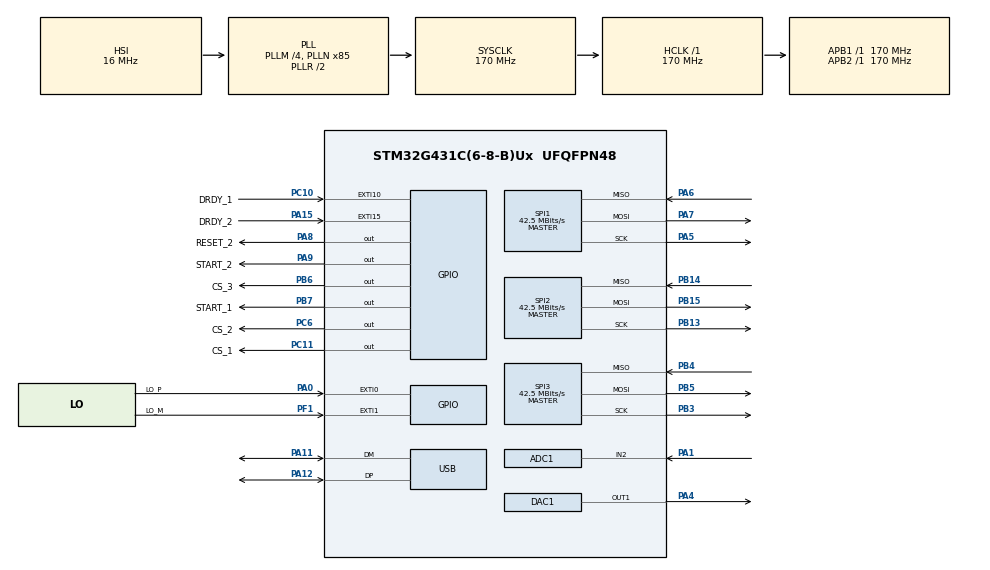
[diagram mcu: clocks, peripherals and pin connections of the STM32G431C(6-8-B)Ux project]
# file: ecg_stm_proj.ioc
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ADC1.Channel-0\#ChannelRegularConversion=ADC_CHANNEL_2
ADC1.DMAContinuousRequests=ENABLE
ADC1.ExternalTrigConv=ADC_EXTERNALTRIG_T7_TRGO
ADC1.NbrOfConversionFlag=1
ADC1.OffsetNumber-0\#ChannelRegularConversion=ADC_OFFSET_NONE
ADC1.Overrun=ADC_OVR_DATA_OVERWRITTEN
ADC1.Rank-0\#ChannelRegularConversion=1
ADC1.SamplingTime-0\#ChannelRegularConversion=ADC_SAMPLETIME_2CYCLES_5
ADC1.master=1
CRC.CRCLength=CRC_POLYLENGTH_8B
CRC.DefaultInitValueUse=DEFAULT_INIT_VALUE_DISABLE
CRC.DefaultPolynomialUse=DEFAULT_POLYNOMIAL_DISABLE
DAC1.DAC_Trigger_OUT1-DAC_OUT1=DAC_TRIGGER_T6_TRGO
Dma.ADC1.2.Direction=DMA_PERIPH_TO_MEMORY
Dma.ADC1.2.EventEnable=DISABLE
Dma.ADC1.2.Instance=DMA1_Channel4
Dma.ADC1.2.MemDataAlignment=DMA_MDATAALIGN_HALFWORD
Dma.ADC1.2.MemInc=DMA_MINC_ENABLE
Dma.ADC1.2.Mode=DMA_CIRCULAR
Dma.ADC1.2.PeriphDataAlignment=DMA_PDATAALIGN_WORD
Dma.ADC1.2.PeriphInc=DMA_PINC_DISABLE
Dma.ADC1.2.Polarity=HAL_DMAMUX_REQ_GEN_RISING
Dma.ADC1.2.Priority=DMA_PRIORITY_HIGH
Dma.ADC1.2.RequestNumber=1
Dma.ADC1.2.SignalID=NONE
Dma.ADC1.2.SyncEnable=DISABLE
Dma.ADC1.2.SyncPolarity=HAL_DMAMUX_SYNC_NO_EVENT
Dma.ADC1.2.SyncRequestNumber=1
Dma.ADC1.2.SyncSignalID=NONE
Dma.DAC1_CH1.0.Direction=DMA_MEMORY_TO_PERIPH
Dma.DAC1_CH1.0.EventEnable=DISABLE
Dma.DAC1_CH1.0.Instance=DMA1_Channel1
Dma.DAC1_CH1.0.MemDataAlignment=DMA_MDATAALIGN_HALFWORD
Dma.DAC1_CH1.0.MemInc=DMA_MINC_ENABLE
Dma.DAC1_CH1.0.Mode=DMA_CIRCULAR
Dma.DAC1_CH1.0.PeriphDataAlignment=DMA_PDATAALIGN_WORD
Dma.DAC1_CH1.0.PeriphInc=DMA_PINC_DISABLE
Dma.DAC1_CH1.0.Polarity=HAL_DMAMUX_REQ_GEN_RISING
Dma.DAC1_CH1.0.Priority=DMA_PRIORITY_HIGH
Dma.DAC1_CH1.0.RequestNumber=1
Dma.DAC1_CH1.0.SignalID=NONE
Dma.DAC1_CH1.0.SyncEnable=DISABLE
Dma.DAC1_CH1.0.SyncPolarity=HAL_DMAMUX_SYNC_NO_EVENT
Dma.DAC1_CH1.0.SyncRequestNumber=1
Dma.DAC1_CH1.0.SyncSignalID=NONE
Dma.Request0=DAC1_CH1
Dma.Request1=SPI1_RX
Dma.Request2=ADC1
Dma.Request3=SPI1_TX
Dma.Request4=SPI2_RX
Dma.Request5=SPI2_TX
Dma.Request6=SPI3_RX
Dma.Request7=SPI3_TX
Dma.SPI1_RX.1.Direction=DMA_PERIPH_TO_MEMORY
Dma.SPI1_RX.1.EventEnable=DISABLE
Dma.SPI1_RX.1.Instance=DMA1_Channel2
Dma.SPI1_RX.1.MemDataAlignment=DMA_MDATAALIGN_BYTE
Dma.SPI1_RX.1.MemInc=DMA_MINC_ENABLE
Dma.SPI1_RX.1.Mode=DMA_NORMAL
Dma.SPI1_RX.1.PeriphDataAlignment=DMA_PDATAALIGN_BYTE
Dma.SPI1_RX.1.PeriphInc=DMA_PINC_DISABLE
Dma.SPI1_RX.1.Polarity=HAL_DMAMUX_REQ_GEN_RISING
Dma.SPI1_RX.1.Priority=DMA_PRIORITY_VERY_HIGH
Dma.SPI1_RX.1.RequestNumber=1
Dma.SPI1_RX.1.SignalID=NONE
Dma.SPI1_RX.1.SyncEnable=DISABLE
Dma.SPI1_RX.1.SyncPolarity=HAL_DMAMUX_SYNC_NO_EVENT
Dma.SPI1_RX.1.SyncRequestNumber=1
Dma.SPI1_RX.1.SyncSignalID=NONE
Dma.SPI1_TX.3.Direction=DMA_MEMORY_TO_PERIPH
Dma.SPI1_TX.3.EventEnable=DISABLE
Dma.SPI1_TX.3.Instance=DMA1_Channel3
Dma.SPI1_TX.3.MemDataAlignment=DMA_MDATAALIGN_BYTE
Dma.SPI1_TX.3.MemInc=DMA_MINC_ENABLE
Dma.SPI1_TX.3.Mode=DMA_NORMAL
Dma.SPI1_TX.3.PeriphDataAlignment=DMA_PDATAALIGN_BYTE
Dma.SPI1_TX.3.PeriphInc=DMA_PINC_DISABLE
Dma.SPI1_TX.3.Polarity=HAL_DMAMUX_REQ_GEN_RISING
Dma.SPI1_TX.3.Priority=DMA_PRIORITY_VERY_HIGH
Dma.SPI1_TX.3.RequestNumber=1
Dma.SPI1_TX.3.SignalID=NONE
Dma.SPI1_TX.3.SyncEnable=DISABLE
Dma.SPI1_TX.3.SyncPolarity=HAL_DMAMUX_SYNC_NO_EVENT
Dma.SPI1_TX.3.SyncRequestNumber=1
Dma.SPI1_TX.3.SyncSignalID=NONE
Dma.SPI2_RX.4.Direction=DMA_PERIPH_TO_MEMORY
Dma.SPI2_RX.4.EventEnable=DISABLE
Dma.SPI2_RX.4.Instance=DMA2_Channel1
Dma.SPI2_RX.4.MemDataAlignment=DMA_MDATAALIGN_BYTE
Dma.SPI2_RX.4.MemInc=DMA_MINC_ENABLE
Dma.SPI2_RX.4.Mode=DMA_NORMAL
Dma.SPI2_RX.4.PeriphDataAlignment=DMA_PDATAALIGN_BYTE
Dma.SPI2_RX.4.PeriphInc=DMA_PINC_DISABLE
Dma.SPI2_RX.4.Polarity=HAL_DMAMUX_REQ_GEN_RISING
Dma.SPI2_RX.4.Priority=DMA_PRIORITY_VERY_HIGH
Dma.SPI2_RX.4.RequestNumber=1
Dma.SPI2_RX.4.SignalID=NONE
Dma.SPI2_RX.4.SyncEnable=DISABLE
Dma.SPI2_RX.4.SyncPolarity=HAL_DMAMUX_SYNC_NO_EVENT
Dma.SPI2_RX.4.SyncRequestNumber=1
Dma.SPI2_RX.4.SyncSignalID=NONE
Dma.SPI2_TX.5.Direction=DMA_MEMORY_TO_PERIPH
Dma.SPI2_TX.5.EventEnable=DISABLE
Dma.SPI2_TX.5.Instance=DMA2_Channel2
Dma.SPI2_TX.5.MemDataAlignment=DMA_MDATAALIGN_BYTE
Dma.SPI2_TX.5.MemInc=DMA_MINC_ENABLE
Dma.SPI2_TX.5.Mode=DMA_NORMAL
Dma.SPI2_TX.5.PeriphDataAlignment=DMA_PDATAALIGN_BYTE
Dma.SPI2_TX.5.PeriphInc=DMA_PINC_DISABLE
Dma.SPI2_TX.5.Polarity=HAL_DMAMUX_REQ_GEN_RISING
Dma.SPI2_TX.5.Priority=DMA_PRIORITY_VERY_HIGH
Dma.SPI2_TX.5.RequestNumber=1
Dma.SPI2_TX.5.SignalID=NONE
Dma.SPI2_TX.5.SyncEnable=DISABLE
Dma.SPI2_TX.5.SyncPolarity=HAL_DMAMUX_SYNC_NO_EVENT
Dma.SPI2_TX.5.SyncRequestNumber=1
Dma.SPI2_TX.5.SyncSignalID=NONE
Dma.SPI3_RX.6.Direction=DMA_PERIPH_TO_MEMORY
Dma.SPI3_RX.6.EventEnable=DISABLE
Dma.SPI3_RX.6.Instance=DMA2_Channel3
Dma.SPI3_RX.6.MemDataAlignment=DMA_MDATAALIGN_BYTE
Dma.SPI3_RX.6.MemInc=DMA_MINC_ENABLE
Dma.SPI3_RX.6.Mode=DMA_NORMAL
Dma.SPI3_RX.6.PeriphDataAlignment=DMA_PDATAALIGN_BYTE
Dma.SPI3_RX.6.PeriphInc=DMA_PINC_DISABLE
Dma.SPI3_RX.6.Polarity=HAL_DMAMUX_REQ_GEN_RISING
Dma.SPI3_RX.6.Priority=DMA_PRIORITY_MEDIUM
Dma.SPI3_RX.6.RequestNumber=1
Dma.SPI3_RX.6.SignalID=NONE
Dma.SPI3_RX.6.SyncEnable=DISABLE
Dma.SPI3_RX.6.SyncPolarity=HAL_DMAMUX_SYNC_NO_EVENT
Dma.SPI3_RX.6.SyncRequestNumber=1
Dma.SPI3_RX.6.SyncSignalID=NONE
Dma.SPI3_TX.7.Direction=DMA_MEMORY_TO_PERIPH
Dma.SPI3_TX.7.EventEnable=DISABLE
Dma.SPI3_TX.7.Instance=DMA2_Channel4
Dma.SPI3_TX.7.MemDataAlignment=DMA_MDATAALIGN_BYTE
Dma.SPI3_TX.7.MemInc=DMA_MINC_ENABLE
Dma.SPI3_TX.7.Mode=DMA_NORMAL
Dma.SPI3_TX.7.PeriphDataAlignment=DMA_PDATAALIGN_BYTE
Dma.SPI3_TX.7.PeriphInc=DMA_PINC_DISABLE
Dma.SPI3_TX.7.Polarity=HAL_DMAMUX_REQ_GEN_RISING
Dma.SPI3_TX.7.Priority=DMA_PRIORITY_MEDIUM
Dma.SPI3_TX.7.RequestNumber=1
Dma.SPI3_TX.7.SignalID=NONE
Dma.SPI3_TX.7.SyncEnable=DISABLE
Dma.SPI3_TX.7.SyncPolarity=HAL_DMAMUX_SYNC_NO_EVENT
Dma.SPI3_TX.7.SyncRequestNumber=1
Dma.SPI3_TX.7.SyncSignalID=NONE
Mcu.Family=STM32G4
Mcu.Name=STM32G431C(6-8-B)Ux
Mcu.Package=UFQFPN48
NVIC.DMA1_Channel1_IRQn=true\:4\:0\:true\:false\:true\:false\:true\:true
NVIC.DMA1_Channel2_IRQn=true\:0\:0\:true\:false\:true\:false\:false\:true
NVIC.DMA1_Channel3_IRQn=true\:4\:0\:true\:false\:false\:false\:false\:false
NVIC.DMA1_Channel4_IRQn=true\:4\:0\:true\:false\:true\:false\:true\:true
NVIC.DMA2_Channel1_IRQn=true\:1\:0\:true\:false\:true\:false\:false\:true
NVIC.DMA2_Channel2_IRQn=true\:4\:0\:true\:false\:false\:false\:false\:false
NVIC.DMA2_Channel3_IRQn=true\:0\:0\:false\:false\:true\:false\:true\:true
NVIC.DMA2_Channel4_IRQn=true\:0\:0\:false\:false\:true\:false\:true\:true
NVIC.EXTI0_IRQn=true\:10\:0\:true\:false\:true\:true\:false\:true
NVIC.EXTI15_10_IRQn=true\:1\:0\:true\:false\:true\:true\:false\:true
NVIC.EXTI1_IRQn=true\:10\:0\:true\:false\:true\:true\:false\:true
NVIC.PriorityGroup=NVIC_PRIORITYGROUP_4
NVIC.USB_HP_IRQn=true\:0\:0\:false\:false\:true\:true\:false\:true
NVIC.USB_LP_IRQn=true\:2\:0\:true\:false\:true\:true\:true\:true
PA0.GPIO_Label=LO_P
PA0.GPIO_ModeDefaultEXTI=GPIO_MODE_IT_RISING_FALLING
PA0.GPIO_PuPd=GPIO_PULLDOWN
PA0.Signal=GPXTI0
PA1.Mode=IN2-Single-Ended
PA1.Signal=ADC1_IN2
PA11.Mode=Device
PA11.Signal=USB_DM
PA12.Mode=Device
PA12.Signal=USB_DP
PA15.GPIO_Label=DRDY_2
PA15.GPIO_ModeDefaultEXTI=GPIO_MODE_IT_FALLING
PA15.GPIO_PuPd=GPIO_PULLDOWN
PA15.Signal=GPXTI15
PA4.Signal=COMP_DAC11_group
PA5.GPIO_PuPd=GPIO_NOPULL
PA5.GPIO_Speed=GPIO_SPEED_FREQ_VERY_HIGH
PA5.Mode=Full_Duplex_Master
PA5.Signal=SPI1_SCK
PA6.GPIO_PuPd=GPIO_NOPULL
PA6.GPIO_Speed=GPIO_SPEED_FREQ_VERY_HIGH
PA6.Mode=Full_Duplex_Master
PA6.Signal=SPI1_MISO
PA7.GPIO_PuPd=GPIO_NOPULL
PA7.GPIO_Speed=GPIO_SPEED_FREQ_VERY_HIGH
PA7.Mode=Full_Duplex_Master
PA7.Signal=SPI1_MOSI
PA8.GPIO_Label=RESET_2
PA8.GPIO_PuPd=GPIO_PULLDOWN
PA8.Signal=GPIO_Output
PA9.GPIO_Label=START_2
PA9.GPIO_PuPd=GPIO_PULLDOWN
PA9.Signal=GPIO_Output
PB13.GPIO_PuPd=GPIO_NOPULL
PB13.GPIO_Speed=GPIO_SPEED_FREQ_VERY_HIGH
PB13.Mode=Full_Duplex_Master
PB13.Signal=SPI2_SCK
PB14.GPIO_PuPd=GPIO_NOPULL
PB14.GPIO_Speed=GPIO_SPEED_FREQ_VERY_HIGH
PB14.Mode=Full_Duplex_Master
PB14.Signal=SPI2_MISO
PB15.GPIO_PuPd=GPIO_NOPULL
PB15.GPIO_Speed=GPIO_SPEED_FREQ_VERY_HIGH
PB15.Mode=Full_Duplex_Master
PB15.Signal=SPI2_MOSI
PB3.Mode=Full_Duplex_Master
PB3.Signal=SPI3_SCK
PB4.Mode=Full_Duplex_Master
PB4.Signal=SPI3_MISO
PB5.Mode=Full_Duplex_Master
PB5.Signal=SPI3_MOSI
PB6.GPIO_Label=CS_3
PB6.GPIO_PuPd=GPIO_PULLDOWN
PB6.GPIO_Speed=GPIO_SPEED_FREQ_VERY_HIGH
PB6.Signal=GPIO_Output
PB7.GPIO_Label=START_1
PB7.GPIO_PuPd=GPIO_PULLDOWN
PB7.Signal=GPIO_Output
PC10.GPIO_Label=DRDY_1
PC10.GPIO_ModeDefaultEXTI=GPIO_MODE_IT_FALLING
PC10.GPIO_PuPd=GPIO_PULLDOWN
PC10.Signal=GPXTI10
PC11.GPIO_Label=CS_1
PC11.GPIO_PuPd=GPIO_NOPULL
PC11.GPIO_Speed=GPIO_SPEED_FREQ_HIGH
PC11.PinState=GPIO_PIN_SET
PC11.Signal=GPIO_Output
PC6.GPIO_Label=CS_2
PC6.GPIO_PuPd=GPIO_NOPULL
PC6.GPIO_Speed=GPIO_SPEED_FREQ_HIGH
PC6.PinState=GPIO_PIN_SET
PC6.Signal=GPIO_Output
PF1-OSC_OUT.GPIO_Label=LO_M
PF1-OSC_OUT.GPIO_ModeDefaultEXTI=GPIO_MODE_IT_RISING_FALLING
PF1-OSC_OUT.GPIO_PuPd=GPIO_PULLDOWN
PF1-OSC_OUT.Signal=GPXTI1
ProjectManager.HeapSize=0x200
ProjectManager.StackSize=0x400
ProjectManager.TargetToolchain=CMake
RCC.ADC12Freq_Value=170000000
RCC.AHBFreq_Value=170000000
RCC.APB1Freq_Value=170000000
RCC.APB1TimFreq_Value=170000000
RCC.APB2Freq_Value=170000000
RCC.APB2TimFreq_Value=170000000
RCC.CK48CLockSelection=RCC_USBCLKSOURCE_HSI48
RCC.CortexFreq_Value=170000000
RCC.EXTERNAL_CLOCK_VALUE=12288000
RCC.HCLKFreq_Value=170000000
RCC.HSE_VALUE=8000000
RCC.HSI48_VALUE=48000000
RCC.HSI_VALUE=16000000
RCC.LSE_VALUE=32768
RCC.PLLM=RCC_PLLM_DIV4
RCC.PLLN=85
RCC.PREFETCH_ENABLE=1
RCC.SYSCLKFreq_VALUE=170000000
RCC.SYSCLKSource=RCC_SYSCLKSOURCE_PLLCLK
RCC.USBFreq_Value=48000000
RCC.VCOOutputFreq_Value=340000000
SH.COMP_DAC11_group.0=DAC1_OUT1,DAC_OUT1
SPI1.BaudRatePrescaler=SPI_BAUDRATEPRESCALER_4
SPI1.CLKPhase=SPI_PHASE_2EDGE
SPI1.CLKPolarity=SPI_POLARITY_LOW
SPI1.CalculateBaudRate=42.5 MBits/s
SPI1.DataSize=SPI_DATASIZE_8BIT
SPI1.Direction=SPI_DIRECTION_2LINES
SPI1.Mode=SPI_MODE_MASTER
SPI1.VirtualType=VM_MASTER
SPI2.BaudRatePrescaler=SPI_BAUDRATEPRESCALER_4
SPI2.CLKPhase=SPI_PHASE_2EDGE
SPI2.CalculateBaudRate=42.5 MBits/s
SPI2.DataSize=SPI_DATASIZE_8BIT
SPI2.Direction=SPI_DIRECTION_2LINES
SPI2.Mode=SPI_MODE_MASTER
SPI2.VirtualType=VM_MASTER
SPI3.BaudRatePrescaler=SPI_BAUDRATEPRESCALER_4
SPI3.CLKPhase=SPI_PHASE_1EDGE
SPI3.CalculateBaudRate=42.5 MBits/s
SPI3.DataSize=SPI_DATASIZE_8BIT
SPI3.Direction=SPI_DIRECTION_2LINES
SPI3.Mode=SPI_MODE_MASTER
SPI3.VirtualType=VM_MASTER
TIM6.PeriodNoDither=1
TIM6.Prescaler=0
TIM6.TIM_MasterOutputTrigger=TIM_TRGO_UPDATE
TIM7.PeriodNoDither=999
TIM7.Prescaler=100
TIM7.TIM_MasterOutputTrigger=TIM_TRGO_UPDATE
USB_DEVICE.CLASS_NAME_FS=CDC
USB_DEVICE.VirtualMode=Cdc
USB_DEVICE.VirtualModeFS=Cdc_FS
VP_CRC_VS_CRC.Mode=CRC_Activate
VP_SYS_VS_DBSignals.Mode=DisableDeadBatterySignals
VP_TIM6_VS_ClockSourceINT.Mode=Enable_Timer
VP_TIM7_VS_ClockSourceINT.Mode=Enable_Timer
VP_USB_DEVICE_VS_USB_DEVICE_CDC_FS.Mode=CDC_FS
board=custom

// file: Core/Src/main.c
/* USER CODE BEGIN Header */
/**
 ******************************************************************************
 * @file           : main.c
 * @brief          : Main program body
 ******************************************************************************
 * @attention
 *
 * Copyright (c) 2026 STMicroelectronics.
 * All rights reserved.
 *
 * This software is licensed under terms that can be found in the LICENSE file
 * in the root directory of this software component.
 * If no LICENSE file comes with this software, it is provided AS-IS.
 *
 ******************************************************************************
 */
/* USER CODE END Header */
#include "main.h"
#include "adc.h"
#include "crc.h"
#include "dac.h"
#include "dma.h"
#include "spi.h"
#include "tim.h"
#include "usb_device.h"
#include "gpio.h"

/* USER CODE BEGIN Includes */
#include "uplink_buffer.h"
#include "downlink_parser.h"
#include "adc_handler.h"
#include "cmd_handler.h"
#include "utility_functions.h"
// #include <stdint.h>
/* USER CODE END Includes */

void SystemClock_Config(void);

/* USER CODE BEGIN 0 */

ADC_Telemetry adc_telemetry = {0};

/** @brief Массив данных для генерации синуса (DAC1) */
static __ALIGNED(4) uint16_t sine_wave[SINE_WAVE_SAMPLES];

/** @brief Буфер значений внутреннего ADC (сигнал ЭКГ) */
static __ALIGNED(4) uint16_t ecg_buffer[ECG_BUF_SIZE];

/** @brief Кольцевой буфер для потока данных с ПК */
Downlink_USB_Stream usbStream;

uint8_t SPI_Request[] = {0xAA, 0xBB, 0xCC};
uint8_t SPI_Answer[3];

bool dac_running;
bool adc_running;

Peripheral_latch_set Latches;

/* USER CODE END 0 */

int main(void)
{

  /* USER CODE BEGIN 1 */
  usbStream.head = usbStream.tail = 0U;
  /* USER CODE END 1 */

  /* MCU Configuration--------------------------------------------------------*/

  /* Reset of all peripherals, Initializes the Flash interface and the Systick. */
  HAL_Init();

  /* USER CODE BEGIN Init */
  GenerateSineWave(sine_wave);
  /* USER CODE END Init */

  /* Configure the system clock */
  SystemClock_Config();

  /* USER CODE BEGIN SysInit */
  set_latches();
  /* USER CODE END SysInit */

  /* Initialize all configured peripherals */
  MX_GPIO_Init();
  MX_DMA_Init();
  MX_DAC1_Init();
  MX_SPI1_Init();
  MX_TIM6_Init();
  MX_ADC1_Init();
  MX_USB_Device_Init();
  MX_TIM7_Init();
  MX_SPI2_Init();
  MX_CRC_Init();
  MX_SPI3_Init();
  /* USER CODE BEGIN 2 */

  // reset_latches(&Latches);

  // HAL_NVIC_DisableIRQ(DMA1_Channel3_IRQn); // SPI1 TX - not used
  // HAL_NVIC_DisableIRQ(DMA2_Channel2_IRQn); // SPI2 TX - not used
  // NVIC_DisableIRQ(DMA2_Channel2_IRQn);

  ADC_Handler_Init();
  stop_all();
  HAL_Delay(100);
  // ADC_setup(&adc2_ctx);
  // Latches.EXTERNAL_ADC_I_IsLocked = 0;
  // Latches.EXTERNAL_ADC_II_IsLocked = 0;
  // Latches.INTERNAL_ADC_IsLocked = 0;
  // Latches.INTERNAL_DAC_IsLocked = 1;

  ADC_setup(&adc1_ctx);
  ADC_setup(&adc2_ctx);

    /* Старт ADC1 (чтение сигнала ЭКГ по ивенту от TIM6) */
  if (HAL_ADC_Start_DMA(&hadc1, (uint32_t *)(void *)ecg_buffer, ECG_BUF_SIZE) != HAL_OK)
  {
    Error_Handler();
  }

  // HAL_ADC_Start_DMA(&hadc1, (uint32_t *)(void *)ecg_buffer, ECG_BUF_SIZE);

  /* Старт DAC1 (генерация синуса, отсчеты по таймеру TIM6) */
  // HAL_DAC_Start_DMA(&hdac1, DAC1_CHANNEL_1, (uint32_t *)(void *)sine_wave, SINE_WAVE_SAMPLES, DAC_ALIGN_12B_R);
  if (HAL_DAC_Start_DMA(&hdac1, DAC1_CHANNEL_1, (uint32_t *)(void *)sine_wave, SINE_WAVE_SAMPLES, DAC_ALIGN_12B_R) != HAL_OK)
  {
    Error_Handler();
  }

  dac_running = (bool)false;
  adc_running = (bool)false;
  /* USER CODE END 2 */

  /* Infinite loop */
  /* USER CODE BEGIN WHILE */
  while (1)
  {
    parse_downlink_data(&usbStream);
    DRDY_no_responce_timeout_handle(&adc1_ctx);
    DRDY_no_responce_timeout_handle(&adc2_ctx);
    processAdcBatches1(&adc1_ctx);
    processAdcBatches(&adc2_ctx);
    stream_data_uplink(&EXT_ADC1_Stream);
    stream_data_uplink(&EXT_ADC2_Stream);
    stream_data_uplink(&INT_ADC_Stream);
    internal_DAC_EN_DIS_mgr();
    internal_ADC_EN_DIS_mgr();
    /* USER CODE END WHILE */

  }
}

void SystemClock_Config(void)
{
  RCC_OscInitTypeDef RCC_OscInitStruct = {0};
  RCC_ClkInitTypeDef RCC_ClkInitStruct = {0};

  /** Configure the main internal regulator output voltage
  */
  HAL_PWREx_ControlVoltageScaling(PWR_REGULATOR_VOLTAGE_SCALE1_BOOST);

  /** Initializes the RCC Oscillators according to the specified parameters
  * in the RCC_OscInitTypeDef structure.
  */
  RCC_OscInitStruct.OscillatorType = RCC_OSCILLATORTYPE_HSI|RCC_OSCILLATORTYPE_HSI48;
  RCC_OscInitStruct.HSIState = RCC_HSI_ON;
  RCC_OscInitStruct.HSICalibrationValue = RCC_HSICALIBRATION_DEFAULT;
  RCC_OscInitStruct.HSI48State = RCC_HSI48_ON;
  RCC_OscInitStruct.PLL.PLLState = RCC_PLL_ON;
  RCC_OscInitStruct.PLL.PLLSource = RCC_PLLSOURCE_HSI;
  RCC_OscInitStruct.PLL.PLLM = RCC_PLLM_DIV4;
  RCC_OscInitStruct.PLL.PLLN = 85;
  RCC_OscInitStruct.PLL.PLLP = RCC_PLLP_DIV2;
  RCC_OscInitStruct.PLL.PLLQ = RCC_PLLQ_DIV2;
  RCC_OscInitStruct.PLL.PLLR = RCC_PLLR_DIV2;
  if (HAL_RCC_OscConfig(&RCC_OscInitStruct) != HAL_OK)
  {
    Error_Handler();
  }

  /** Initializes the CPU, AHB and APB buses clocks
  */
  RCC_ClkInitStruct.ClockType = RCC_CLOCKTYPE_HCLK|RCC_CLOCKTYPE_SYSCLK
                              |RCC_CLOCKTYPE_PCLK1|RCC_CLOCKTYPE_PCLK2;
  RCC_ClkInitStruct.SYSCLKSource = RCC_SYSCLKSOURCE_PLLCLK;
  RCC_ClkInitStruct.AHBCLKDivider = RCC_SYSCLK_DIV1;
  RCC_ClkInitStruct.APB1CLKDivider = RCC_HCLK_DIV1;
  RCC_ClkInitStruct.APB2CLKDivider = RCC_HCLK_DIV1;

  if (HAL_RCC_ClockConfig(&RCC_ClkInitStruct, FLASH_LATENCY_4) != HAL_OK)
  {
    Error_Handler();
  }
}

/* USER CODE BEGIN 4 */

/** @brief Двойная буферизация сигнала ЭКГ. Срабатывает  при заполнении первой половины буфера*/
void HAL_ADC_ConvHalfCpltCallback(ADC_HandleTypeDef *hadc)
{
  if ((hadc->Instance == ADC1)) /* && (!Latches.INTERNAL_ADC_IsLocked) && ((!Latches.LO_DISRUPTED) && (!Latches.LO_SIGLNAL_USAGE_IsLocked))) */
  {
    if (Latches.LO_DISRUPTED)
    {
      if (!Latches.LO_SIGLNAL_USAGE_IsLocked)
      {
        return;
      }
    }
    // TODO Перепроверить, возможно схлопнуть в один колбэк

    Uplink_Packet packet = create_packet(DATA_ADC_ECG, (uint16_t)ECG_BUF_SIZE);

    for (uint16_t i = 0; i < ECG_BUF_SIZE / 2U; i++)
    {
      packet.data[i * 2U] = (uint8_t)(ecg_buffer[i] & 0xFFU);
      packet.data[i * 2U + 1U] = (uint8_t)((ecg_buffer[i] >> 8U) & 0xFFU);
    }

    pushPacket(&INT_ADC_Stream, &packet);
  }
}

/** @brief Двойная буферизация сигнала ЭКГ. Срабатывает  при заполнении второй половины буфера*/
void HAL_ADC_ConvCpltCallback(ADC_HandleTypeDef *hadc)
{
  if ((hadc->Instance == ADC1)) /*&& (!Latches.INTERNAL_ADC_IsLocked) && ((!Latches.LO_DISRUPTED) && (!Latches.LO_SIGLNAL_USAGE_IsLocked)))*/
  {
    if (Latches.LO_DISRUPTED)
    {
      if (!Latches.LO_SIGLNAL_USAGE_IsLocked)
      {
        return;
      }
    }
    Uplink_Packet packet = create_packet(DATA_ADC_ECG, (uint16_t)ECG_BUF_SIZE);

    for (uint16_t i = 0U; i < ECG_BUF_SIZE / 2U; i++)
    {
      packet.data[i * 2U] = (uint8_t)(ecg_buffer[i + ECG_BUF_SIZE / 2U] & 0xFFU);
      packet.data[i * 2U + 1U] = (uint8_t)((ecg_buffer[i + ECG_BUF_SIZE / 2U] >> 8U) & 0xFFU);
    }

    pushPacket(&INT_ADC_Stream, &packet);
  }
}

/* USER CODE END 4 */

void Error_Handler(void)
{
  __disable_irq();
  while (1)
  {
  }
}
